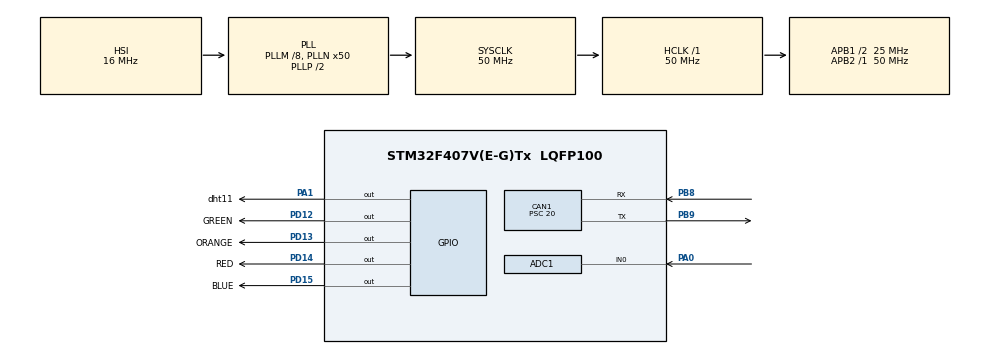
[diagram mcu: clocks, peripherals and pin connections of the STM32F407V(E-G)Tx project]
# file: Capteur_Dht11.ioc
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ADC1.Channel-0\#ChannelRegularConversion=ADC_CHANNEL_0
ADC1.NbrOfConversionFlag=1
ADC1.Rank-0\#ChannelRegularConversion=1
ADC1.Resolution=ADC_RESOLUTION_8B
ADC1.SamplingTime-0\#ChannelRegularConversion=ADC_SAMPLETIME_3CYCLES
ADC1.master=1
CAN1.BS1=CAN_BS1_12TQ
CAN1.BS2=CAN_BS2_2TQ
CAN1.CalculateBaudRate=83333
CAN1.CalculateTimeBit=12000
CAN1.CalculateTimeQuantum=800.0
CAN1.NART=DISABLE
CAN1.Prescaler=20
Mcu.Family=STM32F4
Mcu.Name=STM32F407V(E-G)Tx
Mcu.Package=LQFP100
NVIC.ADC_IRQn=true\:0\:0\:false\:false\:true\:true\:true\:true
NVIC.CAN1_RX0_IRQn=true\:0\:0\:false\:false\:true\:true\:true\:true
NVIC.CAN1_SCE_IRQn=true\:0\:0\:false\:false\:true\:true\:true\:true
NVIC.CAN1_TX_IRQn=true\:0\:0\:false\:false\:true\:true\:true\:true
NVIC.PriorityGroup=NVIC_PRIORITYGROUP_0
PA0-WKUP.Signal=ADCx_IN0
PA1.GPIO_Label=dht11
PA1.Signal=GPIO_Output
PB8.GPIO_PuPd=GPIO_PULLUP
PB8.Mode=CAN_Activate
PB8.Signal=CAN1_RX
PB9.GPIO_PuPd=GPIO_PULLUP
PB9.Mode=CAN_Activate
PB9.Signal=CAN1_TX
PD12.GPIO_Label=GREEN
PD12.Signal=GPIO_Output
PD13.GPIO_Label=ORANGE
PD13.Signal=GPIO_Output
PD14.GPIO_Label=RED
PD14.Signal=GPIO_Output
PD15.GPIO_Label=BLUE
PD15.Signal=GPIO_Output
PH0-OSC_IN.Mode=HSE-External-Oscillator
PH0-OSC_IN.Signal=RCC_OSC_IN
PH1-OSC_OUT.Mode=HSE-External-Oscillator
PH1-OSC_OUT.Signal=RCC_OSC_OUT
ProjectManager.HeapSize=0x200
ProjectManager.StackSize=0x400
ProjectManager.TargetToolchain=STM32CubeIDE
RCC.48MHZClocksFreq_Value=14285714.285714285
RCC.AHBFreq_Value=50000000
RCC.APB1CLKDivider=RCC_HCLK_DIV2
RCC.APB1Freq_Value=25000000
RCC.APB1TimFreq_Value=50000000
RCC.APB2Freq_Value=50000000
RCC.APB2TimFreq_Value=50000000
RCC.CortexFreq_Value=50000000
RCC.HCLKFreq_Value=50000000
RCC.HSE_VALUE=8000000
RCC.HSI_VALUE=16000000
RCC.LSE_VALUE=32768
RCC.PLLM=8
RCC.PLLN=50
RCC.PLLQ=7
RCC.SYSCLKFreq_VALUE=50000000
RCC.SYSCLKSource=RCC_SYSCLKSOURCE_PLLCLK
RCC.VCOOutputFreq_Value=100000000
SH.ADCx_IN0.0=ADC1_IN0,IN0
TIM6.Period=0xffff-1
TIM6.Prescaler=50-1
VP_TIM6_VS_ClockSourceINT.Mode=Enable_Timer
board=STM32F407G-DISC1

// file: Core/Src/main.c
/* USER CODE BEGIN Header */
/**
  ******************************************************************************
  * @file           : main.c
  * @brief          : Main program body
  ******************************************************************************
  * @attention
  *
  * Copyright (c) 2024 STMicroelectronics.
  * All rights reserved.
  *
  * This software is licensed under terms that can be found in the LICENSE file
  * in the root directory of this software component.
  * If no LICENSE file comes with this software, it is provided AS-IS.
  *
  ******************************************************************************
  */
/* USER CODE END Header */
#include "main.h"

/* USER CODE BEGIN Includes */
#include <stdbool.h>
/* USER CODE END Includes */

/* USER CODE BEGIN PD */

/**
  * @brief MAX_RETRIES: Maximum number of retries for communication with the DHT11 sensor.
  *        If the sensor fails to respond within these retries, the communication is aborted.
  */
#define MAX_RETRIES 3

/**
  * @brief CAN_TRANSMIT_MSG_SIZE: Size of the CAN message payload in bytes.
  *        It specifies the number of data bytes to be transmitted over the CAN bus.
  */
#define CAN_TRANSMIT_MSG_SIZE 3

/**
  * @brief FUEL_LEVEL_MIN: Minimum fuel level threshold.
  *        If the fuel level falls below this threshold, it indicates a low fuel condition.
  */
#define FUEL_LEVEL_MIN 50
/* USER CODE END PD */

ADC_HandleTypeDef hadc1;

CAN_HandleTypeDef hcan1;

TIM_HandleTypeDef htim6;

/* USER CODE BEGIN PV */

/**
  * @brief hum_integer_part: Integer part of the humidity value from the DHT11 sensor.
  */
uint8_t hum_integer_part = 0;

/**
  * @brief hum_decimal_part: Decimal part of the humidity value from the DHT11 sensor.
  */
uint8_t hum_decimal_part = 0;

/**
  * @brief temp_integer_part: Integer part of the temperature value from the DHT11 sensor.
  */
uint8_t temp_integer_part = 0;

/**
  * @brief temp_decimal_part: Decimal part of the temperature value from the DHT11 sensor.
  */
uint8_t temp_decimal_part = 0;

/**
  * @brief sum: Sum of the received data from the DHT11 sensor used for verification.
  */
uint16_t sum = 0;

/**
  * @brief Adc_Conversion_Complete: Flag indicating the completion of ADC conversion.
  *        It's volatile as it's accessed from an interrupt service routine (ISR).
  */
volatile char Adc_Conversion_Complete = 0;

/**
  * @brief Can_Transmission_Flag: Flag indicating the completion of CAN transmission.
  *        It's volatile as it's accessed from an interrupt service routine (ISR).
  */
volatile char Can_Transmission_Flag = 0;

/**
  * @brief FUEL_level: Variable to store the current fuel level reading.
  *        Initialized to 0 and updated with the value obtained from the ADC conversion.
  */
uint16_t FUEL_level = 0;

/* USER CODE END PV */

void SystemClock_Config(void);
static void MX_GPIO_Init(void);
static void MX_TIM6_Init(void);
static void MX_ADC1_Init(void);
static void MX_CAN1_Init(void);
/* USER CODE BEGIN PFP */
static void micro_Delay(uint16_t time);
static void Set_Pin_output(GPIO_TypeDef *GPIOx,uint16_t GPIO_Pin);
static void Set_Pin_Input(GPIO_TypeDef *GPIOx,uint16_t GPIO_Pin);
static void dht11_start (void);
static uint8_t check_response (void);
static uint8_t dht11_read (void);
static bool temp_seuil (uint8_t temp_FUEL_levelue );
static void FUEL_Sensor_Function (void);
static void Dht11_function (void);
static void CAN1_Tx(void);
/* USER CODE END PFP */

int main(void)
{

  /* MCU Configuration--------------------------------------------------------*/

  /* Reset of all peripherals, Initializes the Flash interface and the Systick. */
  HAL_Init();

  /* Configure the system clock */
  SystemClock_Config();

  /* Initialize all configured peripherals */
  MX_GPIO_Init();
  MX_TIM6_Init();
  MX_ADC1_Init();
  MX_CAN1_Init();
  /* USER CODE BEGIN 2 */
  /**
    * @brief Starts the TIM6 base timer.
    *        If the start operation fails, it triggers an error handler.
    */
  if (HAL_TIM_Base_Start(&htim6) != HAL_OK)
  {
      Error_Handler();
  }

  /**
    * @brief Starts ADC conversion in interrupt mode.
    *        If the start operation fails, it triggers an error handler.
    */
  if (HAL_ADC_Start_IT(&hadc1) != HAL_OK)
  {
      Error_Handler();
  }

  /**
    * @brief Activates notifications for CAN events including TX mailbox empty,
    *        received FIFO0 message pending, and bus-off condition.
    *        If the activation fails, it triggers an error handler.
    */
  if (HAL_CAN_ActivateNotification(&hcan1, CAN_IT_TX_MAILBOX_EMPTY | CAN_IT_RX_FIFO0_MSG_PENDING | CAN_IT_BUSOFF) != HAL_OK)
  {
      Error_Handler();
  }

  /**
    * @brief Starts the CAN peripheral.
    *        If the start operation fails, it triggers an error handler.
    */
  if (HAL_CAN_Start(&hcan1) != HAL_OK)
  {
      Error_Handler();
  }

  /* USER CODE END 2 */

  /* Infinite loop */
  while (1)
  {

    /* USER CODE BEGIN 3 */

	  /**
	    * @brief Executes the functions to read data from sensors (DHT11 and fuel level sensor),
	    *        transmit data over CAN bus, and handle the CAN transmission flag.
	    */
	  Dht11_function();                // Read data from DHT11 sensor
	  FUEL_Sensor_Function();         // Read data from fuel level sensor
	  CAN1_Tx();                      // Transmit data over CAN bus

	  // Handle CAN transmission flag to control LED indicators
	  if (1 == Can_Transmission_Flag)
	  {
	      HAL_GPIO_WritePin(BLUE_GPIO_Port, BLUE_Pin, GPIO_PIN_SET);  // Set BLUE LED
	      HAL_GPIO_WritePin(RED_GPIO_Port, RED_Pin, GPIO_PIN_RESET);  // Reset RED LED
	      Can_Transmission_Flag = 0;                                  // Reset flag
	  }
	  else if (3 == Can_Transmission_Flag)
	  {
	      HAL_GPIO_WritePin(BLUE_GPIO_Port, BLUE_Pin, GPIO_PIN_RESET);  // Reset BLUE LED
	      HAL_GPIO_WritePin(RED_GPIO_Port, RED_Pin, GPIO_PIN_SET);      // Set RED LED
	      Can_Transmission_Flag = 0;                                    // Reset flag
	  }

	  HAL_Delay(500);  // Delay to control the loop frequency
  }

  /* USER CODE END 3 */
}

void SystemClock_Config(void)
{
  RCC_OscInitTypeDef RCC_OscInitStruct = {0};
  RCC_ClkInitTypeDef RCC_ClkInitStruct = {0};

  /** Configure the main internal regulator output voltage
  */
  __HAL_RCC_PWR_CLK_ENABLE();
  __HAL_PWR_VOLTAGESCALING_CONFIG(PWR_REGULATOR_VOLTAGE_SCALE1);

  /** Initializes the RCC Oscillators according to the specified parameters
  * in the RCC_OscInitTypeDef structure.
  */
  RCC_OscInitStruct.OscillatorType = RCC_OSCILLATORTYPE_HSI;
  RCC_OscInitStruct.HSIState = RCC_HSI_ON;
  RCC_OscInitStruct.HSICalibrationValue = RCC_HSICALIBRATION_DEFAULT;
  RCC_OscInitStruct.PLL.PLLState = RCC_PLL_ON;
  RCC_OscInitStruct.PLL.PLLSource = RCC_PLLSOURCE_HSI;
  RCC_OscInitStruct.PLL.PLLM = 8;
  RCC_OscInitStruct.PLL.PLLN = 50;
  RCC_OscInitStruct.PLL.PLLP = RCC_PLLP_DIV2;
  RCC_OscInitStruct.PLL.PLLQ = 7;
  if (HAL_RCC_OscConfig(&RCC_OscInitStruct) != HAL_OK)
  {
    Error_Handler();
  }

  /** Initializes the CPU, AHB and APB buses clocks
  */
  RCC_ClkInitStruct.ClockType = RCC_CLOCKTYPE_HCLK|RCC_CLOCKTYPE_SYSCLK
                              |RCC_CLOCKTYPE_PCLK1|RCC_CLOCKTYPE_PCLK2;
  RCC_ClkInitStruct.SYSCLKSource = RCC_SYSCLKSOURCE_PLLCLK;
  RCC_ClkInitStruct.AHBCLKDivider = RCC_SYSCLK_DIV1;
  RCC_ClkInitStruct.APB1CLKDivider = RCC_HCLK_DIV2;
  RCC_ClkInitStruct.APB2CLKDivider = RCC_HCLK_DIV1;

  if (HAL_RCC_ClockConfig(&RCC_ClkInitStruct, FLASH_LATENCY_1) != HAL_OK)
  {
    Error_Handler();
  }
}

static void MX_ADC1_Init(void)
{

  ADC_ChannelConfTypeDef sConfig = {0};

  /** Configure the global features of the ADC (Clock, Resolution, Data Alignment and number of conversion)
  */
  hadc1.Instance = ADC1;
  hadc1.Init.ClockPrescaler = ADC_CLOCK_SYNC_PCLK_DIV2;
  hadc1.Init.Resolution = ADC_RESOLUTION_8B;
  hadc1.Init.ScanConvMode = DISABLE;
  hadc1.Init.ContinuousConvMode = DISABLE;
  hadc1.Init.DiscontinuousConvMode = DISABLE;
  hadc1.Init.ExternalTrigConvEdge = ADC_EXTERNALTRIGCONVEDGE_NONE;
  hadc1.Init.ExternalTrigConv = ADC_SOFTWARE_START;
  hadc1.Init.DataAlign = ADC_DATAALIGN_RIGHT;
  hadc1.Init.NbrOfConversion = 1;
  hadc1.Init.DMAContinuousRequests = DISABLE;
  hadc1.Init.EOCSelection = ADC_EOC_SINGLE_CONV;
  if (HAL_ADC_Init(&hadc1) != HAL_OK)
  {
    Error_Handler();
  }

  /** Configure for the selected ADC regular channel its corresponding rank in the sequencer and its sample time.
  */
  sConfig.Channel = ADC_CHANNEL_0;
  sConfig.Rank = 1;
  sConfig.SamplingTime = ADC_SAMPLETIME_3CYCLES;
  if (HAL_ADC_ConfigChannel(&hadc1, &sConfig) != HAL_OK)
  {
    Error_Handler();
  }

}

static void MX_CAN1_Init(void)
{

  hcan1.Instance = CAN1;
  hcan1.Init.Prescaler = 20;
  hcan1.Init.Mode = CAN_MODE_NORMAL;
  hcan1.Init.SyncJumpWidth = CAN_SJW_1TQ;
  hcan1.Init.TimeSeg1 = CAN_BS1_12TQ;
  hcan1.Init.TimeSeg2 = CAN_BS2_2TQ;
  hcan1.Init.TimeTriggeredMode = DISABLE;
  hcan1.Init.AutoBusOff = DISABLE;
  hcan1.Init.AutoWakeUp = DISABLE;
  hcan1.Init.AutoRetransmission = DISABLE;
  hcan1.Init.ReceiveFifoLocked = DISABLE;
  hcan1.Init.TransmitFifoPriority = DISABLE;
  if (HAL_CAN_Init(&hcan1) != HAL_OK)
  {
    Error_Handler();
  }

}

static void MX_TIM6_Init(void)
{

  TIM_MasterConfigTypeDef sMasterConfig = {0};

  htim6.Instance = TIM6;
  htim6.Init.Prescaler = 50-1;
  htim6.Init.CounterMode = TIM_COUNTERMODE_UP;
  htim6.Init.Period = 0xffff-1;
  htim6.Init.AutoReloadPreload = TIM_AUTORELOAD_PRELOAD_DISABLE;
  if (HAL_TIM_Base_Init(&htim6) != HAL_OK)
  {
    Error_Handler();
  }
  sMasterConfig.MasterOutputTrigger = TIM_TRGO_RESET;
  sMasterConfig.MasterSlaveMode = TIM_MASTERSLAVEMODE_DISABLE;
  if (HAL_TIMEx_MasterConfigSynchronization(&htim6, &sMasterConfig) != HAL_OK)
  {
    Error_Handler();
  }

}

static void MX_GPIO_Init(void)
{
  GPIO_InitTypeDef GPIO_InitStruct = {0};

  /* GPIO Ports Clock Enable */
  __HAL_RCC_GPIOH_CLK_ENABLE();
  __HAL_RCC_GPIOA_CLK_ENABLE();
  __HAL_RCC_GPIOD_CLK_ENABLE();
  __HAL_RCC_GPIOB_CLK_ENABLE();

  /*Configure GPIO pin Output Level */
  HAL_GPIO_WritePin(dht11_GPIO_Port, dht11_Pin, GPIO_PIN_RESET);

  /*Configure GPIO pin Output Level */
  HAL_GPIO_WritePin(GPIOD, GREEN_Pin|ORANGE_Pin|RED_Pin|BLUE_Pin, GPIO_PIN_RESET);

  /*Configure GPIO pin : dht11_Pin */
  GPIO_InitStruct.Pin = dht11_Pin;
  GPIO_InitStruct.Mode = GPIO_MODE_OUTPUT_PP;
  GPIO_InitStruct.Pull = GPIO_NOPULL;
  GPIO_InitStruct.Speed = GPIO_SPEED_FREQ_LOW;
  HAL_GPIO_Init(dht11_GPIO_Port, &GPIO_InitStruct);

  /*Configure GPIO pins : GREEN_Pin ORANGE_Pin RED_Pin BLUE_Pin */
  GPIO_InitStruct.Pin = GREEN_Pin|ORANGE_Pin|RED_Pin|BLUE_Pin;
  GPIO_InitStruct.Mode = GPIO_MODE_OUTPUT_PP;
  GPIO_InitStruct.Pull = GPIO_NOPULL;
  GPIO_InitStruct.Speed = GPIO_SPEED_FREQ_LOW;
  HAL_GPIO_Init(GPIOD, &GPIO_InitStruct);

}

/* USER CODE BEGIN 4 */

/**
  * @brief HAL_ADC_ConvCpltCallback: Callback function executed when ADC conversion is complete.
  * @param hadc: pointer to ADC_HandleTypeDef structure that contains the configuration information for the specified ADC.
  * @retval None
  */
void HAL_ADC_ConvCpltCallback(ADC_HandleTypeDef *hadc)
{
  Adc_Conversion_Complete = 1;
}

/**
  * @brief micro_Delay: Function to introduce a microsecond delay.
  * @param time: the time in microseconds to delay.
  * @retval None
  */
static void micro_Delay(uint16_t time){
	  __HAL_TIM_SET_COUNTER(&htim6, 0);
	  while (__HAL_TIM_GET_COUNTER(&htim6) < time);
}

/**
  * @brief Set_Pin_output: Function to configure a GPIO pin as output.
  * @param GPIOx: GPIO port to which the pin belongs.
  * @param GPIO_Pin: specifies the port bit to be written.
  * @retval None
  */
static void Set_Pin_output(GPIO_TypeDef *GPIOx,uint16_t GPIO_Pin)
{
GPIO_InitTypeDef GPIO_InitStruct = {0};
GPIO_InitStruct.Pin = GPIO_Pin;
GPIO_InitStruct.Mode = GPIO_MODE_OUTPUT_PP;
GPIO_InitStruct.Pull = GPIO_PULLUP;
GPIO_InitStruct.Speed = GPIO_SPEED_FREQ_LOW;
HAL_GPIO_Init(GPIOx, &GPIO_InitStruct);
}

/**
  * @brief Set_Pin_Input: Function to configure a GPIO pin as input.
  * @param GPIOx: GPIO port to which the pin belongs.
  * @param GPIO_Pin: specifies the port bit to be written.
  * @retval None
  */
static void Set_Pin_Input(GPIO_TypeDef *GPIOx,uint16_t GPIO_Pin)
{
GPIO_InitTypeDef GPIO_InitStruct = {0};
GPIO_InitStruct.Pin = GPIO_Pin;
GPIO_InitStruct.Mode = GPIO_MODE_INPUT;
GPIO_InitStruct.Pull = GPIO_NOPULL;
GPIO_InitStruct.Speed = GPIO_SPEED_FREQ_LOW;
HAL_GPIO_Init(GPIOx, &GPIO_InitStruct);
}

/**
  * @brief dht11_start: Function to start DHT11 sensor communication.
  * @retval None
  */
static void dht11_start (void)
{
	Set_Pin_output( dht11_GPIO_Port, dht11_Pin);
	HAL_GPIO_WritePin( dht11_GPIO_Port, dht11_Pin, 0);   // pull the pin low
	micro_Delay(18000);
	HAL_GPIO_WritePin( dht11_GPIO_Port, dht11_Pin, 1);   // pull the pin high
	micro_Delay(20);
	Set_Pin_Input( dht11_GPIO_Port, dht11_Pin);
}

/**
  * @brief check_response: Function to check the response from DHT11 sensor.
  * @retval Response: returns 1 if response is received, -1 if not.
  */
static uint8_t check_response (void)
{
	uint8_t Response = 0;
	micro_Delay(40);
	if (!(HAL_GPIO_ReadPin (dht11_GPIO_Port, dht11_Pin)))
	{
		micro_Delay(80);
		if ((HAL_GPIO_ReadPin (dht11_GPIO_Port, dht11_Pin)))
		{
			Response = 1;
		}
		else
			{
			Response = -1;
			}
	}
	while ((HAL_GPIO_ReadPin (dht11_GPIO_Port, dht11_Pin)));   // wait for the pin to go low

	return Response;
}

/**
  * @brief dht11_read: Function to read data from DHT11 sensor.
  * @retval i: the received data byte.
  */
static uint8_t dht11_read (void)
{
	uint8_t i,j;
	for (j=0;j<8;j++)
	{
		while (!(HAL_GPIO_ReadPin (dht11_GPIO_Port, dht11_Pin)));   // wait for the pin to go high
		micro_Delay(40);   // wait for 40 us
		if (!(HAL_GPIO_ReadPin (dht11_GPIO_Port, dht11_Pin)))   // if the pin is low
		{
			i&= ~(1<<(7-j));   // write 0
		}
		else i|= (1<<(7-j));  // if the pin is high, write 1
		while ((HAL_GPIO_ReadPin (dht11_GPIO_Port, dht11_Pin)));  // wait for the pin to go low
	}
	return i;
}

/**
  * @brief temp_seuil: Function to check if the temperature exceeds a certain threshold.
  * @param temp_level: the temperature value to check.
  * @retval true if temperature is below or equal to the threshold, false otherwise.
  */
static bool temp_seuil (uint8_t temp_level )
{
	if( 28 >= temp_level )
	{
		return true;
	}
	else
	{
		return false;
	}
}

/**
  * @brief Dht11_function: Function to read and process data from the DHT11 sensor.
  * @retval None
  */
static void Dht11_function (void)
{
	uint8_t retries = 0;
	dht11_start();
	while ( !check_response())
     {
        retries++;
        if (retries >= MAX_RETRIES)
        {
  		  HAL_GPIO_WritePin(GPIOD, BLUE_Pin, GPIO_PIN_SET);
            retries = 0;
            break;  // Break out of the inner loop to avoid infinite retry loop
        }
        HAL_Delay(1000); // Delay before retrying
     }

    if (retries < MAX_RETRIES)
     {
	    hum_integer_part = dht11_read();
	    hum_decimal_part = dht11_read();
	    temp_integer_part = dht11_read();
	    temp_decimal_part = dht11_read();
	    sum = dht11_read();
	    while (sum != (hum_integer_part + hum_decimal_part + temp_integer_part + temp_decimal_part))
	    {
		    hum_integer_part = dht11_read();
		    hum_decimal_part = dht11_read();
		    temp_integer_part = dht11_read();
		    temp_decimal_part = dht11_read();
	    }
	    if(temp_seuil(temp_integer_part))
	    {
		    HAL_GPIO_WritePin(GPIOD, ORANGE_Pin, GPIO_PIN_SET);
		    HAL_GPIO_WritePin(GREEN_GPIO_Port, GREEN_Pin, GPIO_PIN_RESET);
	    }
	    else
	    {
		    HAL_GPIO_WritePin(GREEN_GPIO_Port, GREEN_Pin, GPIO_PIN_SET);
		    HAL_GPIO_WritePin(ORANGE_GPIO_Port, ORANGE_Pin, GPIO_PIN_RESET);
	    }
     }
}

/**
  * @brief FUEL_Sensor_Function: Function to read and process data from the fuel sensor.
  * @retval None
  */
static void FUEL_Sensor_Function (void)
{
    FUEL_level = (uint16_t) HAL_ADC_GetValue(&hadc1);
	HAL_ADC_Stop_IT(&hadc1);
    HAL_GPIO_WritePin(GPIOD, GREEN_Pin | RED_Pin, GPIO_PIN_RESET);

	  if ( 1 == Adc_Conversion_Complete)
	  {
	        if (FUEL_level < FUEL_LEVEL_MIN)
	        {
	            //HAL_GPIO_WritePin(RED_GPIO_Port, RED_Pin, GPIO_PIN_SET);
	            //HAL_GPIO_WritePin(GPIOD, GREEN_Pin, GPIO_PIN_RESET);
	        } else
	        {
	            //HAL_GPIO_WritePin(GREEN_GPIO_Port, GREEN_Pin, GPIO_PIN_SET);
	            //HAL_GPIO_WritePin(GPIOD, RED_Pin, GPIO_PIN_RESET);
	        }
		  Adc_Conversion_Complete = 0;
		  if(HAL_ADC_Start_IT(&hadc1) != HAL_OK )
		  {
			  Error_Handler();
		  }
	  }
}

/**
  * @brief CAN1_Tx: Function to transmit sensor data via CAN protocol.
  * @retval None
  */
static void CAN1_Tx (void)
{
	CAN_TxHeaderTypeDef TxHeader;
	uint32_t TxMailbox;
	uint8_t can_msg[CAN_TRANSMIT_MSG_SIZE];
	can_msg[0] = temp_integer_part;
	can_msg[1] = hum_integer_part;
	can_msg[2] = FUEL_level;
	if(28 < temp_integer_part)
	{
		TxHeader.StdId= 0x001;
	}
	else
	{
		TxHeader.StdId= 0x003;
	}
	TxHeader.RTR= CAN_RTR_DATA;
	TxHeader.IDE= CAN_ID_STD;
	TxHeader.DLC= CAN_TRANSMIT_MSG_SIZE;
	TxHeader.TransmitGlobalTime= DISABLE;

	if(HAL_CAN_AddTxMessage(&hcan1, &TxHeader, can_msg, &TxMailbox) != HAL_OK)
	{

		Error_Handler();
	}
}

/**
  * @brief HAL_CAN_TxMailbox0CompleteCallback: Callback function executed when CAN Tx mailbox 0 is complete.
  * @param hcan: pointer to a CAN_HandleTypeDef structure that contains the configuration information for the specified CAN.
  * @retval None
  */
void HAL_CAN_TxMailbox0CompleteCallback (CAN_HandleTypeDef *hcan)
{
	if( hcan->Instance == CAN1)
	{
	   Can_Transmission_Flag=1;
	}
}

/**
  * @brief HAL_CAN_TxMailbox1CompleteCallback: Callback function executed when CAN Tx mailbox 1 is complete.
  * @param hcan: pointer to a CAN_HandleTypeDef structure that contains the configuration information for the specified CAN.
  * @retval None
  */
void HAL_CAN_TxMailbox1CompleteCallback (CAN_HandleTypeDef *hcan)
{
	if( hcan->Instance == CAN1)
	{
		Can_Transmission_Flag=1;
	}
}

/**
  * @brief HAL_CAN_TxMailbox2CompleteCallback: Callback function executed when CAN Tx mailbox 2 is complete.
  * @param hcan: pointer to a CAN_HandleTypeDef structure that contains the configuration information for the specified CAN.
  * @retval None
  */
void HAL_CAN_TxMailbox2CompleteCallback (CAN_HandleTypeDef *hcan)
{
	if( hcan->Instance == CAN1)
	{
		Can_Transmission_Flag=1;
	}
}

/**
  * @brief HAL_CAN_ErrorCallback: Callback function executed when CAN error occurs.
  * @param hcan: pointer to a CAN_HandleTypeDef structure that contains the configuration information for the specified CAN.
  * @retval None
  */
void HAL_CAN_ErrorCallback (CAN_HandleTypeDef *hcan)
{
	if( hcan->Instance == CAN1)
	{
		Can_Transmission_Flag=3;
	}
}

/* USER CODE END 4 */

void Error_Handler(void)
{
  __disable_irq();
  while (1)
  {
  }
}
